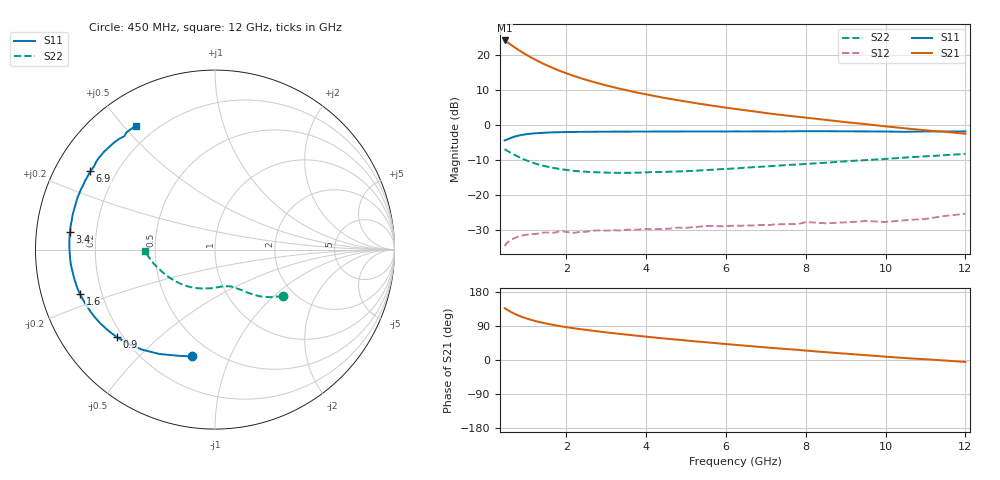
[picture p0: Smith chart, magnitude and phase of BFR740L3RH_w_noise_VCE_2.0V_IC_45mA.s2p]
! (c) 2012  Infineon Technologies AG, Munich
! Infineon Technologies  Discrete & RF Semiconductors
! BFR740L3RH
! VCE =  2.0 V,  IC =  45 mA
! Common Emitter S-Parameters:  May 2012
# GHz  S  MA  R  50
!  f  S11  S21  S12  S22
! GHz  MAG  ANG  MAG  ANG  MAG  ANG  MAG  ANG
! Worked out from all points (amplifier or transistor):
!   85 points, 450 MHz to 12 GHz, reference 50 ohm
!   highest |S21| = 24.3 dB at 450 MHz (marker M1)
!   |S21| within 3 dB of that: start of sweep to 839.8 MHz
!   unconditionally stable (mu >= 1): 2.114 GHz to end of sweep
!   at 1.8 GHz: K = 0.84, MSG = 23.1 dB, |S12| = -30.4 dB
!   at 4.6 GHz: K = 1.86, MAG = 13.2 dB, |S12| = -29.5 dB
!   at 12 GHz: K = 3.43, MAG = 3.2 dB, |S12| = -25.3 dB
!   lowest NFmin = 1.51 dB at 450 MHz
!   S11 on the Smith chart (normalised r, x): 450 MHz: 0.39, -0.73; 900 MHz: 0.18, -0.37; 1.6 GHz: 0.12, -0.16; 3.4 GHz: 0.10, +0.06; 6.9 GHz: 0.11, +0.28; 12 GHz: 0.13, +0.54
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0.45  0.6083 -102.2  16.39 136.7  0.0187 38.2  0.4577 -34.2
0.5  0.6233 -108.1  15.65 133.5  0.0206 39.0  0.4391 -36.5
0.6  0.6594 -118.1  14.31 127.3  0.023 38.7  0.4063 -40.7
0.7  0.6899 -126.1  13.09 121.9  0.0244 36.6  0.3783 -44.2
0.8  0.7137 -132.7  11.99 117.2  0.0258 34.0  0.3534 -47.0
0.9  0.7327 -138.3  11.03 113.2  0.0266 32.0  0.3321 -49.2
1  0.7476 -143.1  10.2 109.6  0.0273 30.7  0.3148 -51.1
1.2  0.7687 -150.7  8.814 103.4  0.0279 27.2  0.2869 -54.5
1.4  0.7819 -156.9  7.714 98.3  0.0291 24.5  0.2659 -57.3
1.6  0.7919 -161.8  6.85 94.0  0.029 23.7  0.251 -60.0
1.8  0.798 -166.0  6.127 90.1  0.0302 24.4  0.2389 -62.3
2  0.8019 -169.6  5.546 86.6  0.0299 24.3  0.2307 -64.6
2.4  0.8082 -175.5  4.646 80.7  0.03 23.0  0.2187 -69.3
2.9  0.8116 178.4  3.858 74.1  0.0313 23.3  0.212 -75.0
3.4  0.8139 173.2  3.282 68.1  0.0316 23.2  0.2091 -81.5
4.3  0.8165 165.8  2.569 58.4  0.0329 26.4  0.215 -93.4
5.2  0.8188 158.9  2.097 49.5  0.0352 28.5  0.224 -105.2
6.3  0.8194 151.7  1.698 39.3  0.0367 30.5  0.2436 -119.8
6.9  0.8204 147.9  1.529 34.1  0.0377 30.6  0.2565 -127.5
8.5  0.8242 138.5  1.198 20.6  0.0397 34.4  0.2922 -146.2
10.5  0.8086 128.7  0.905 5.0  0.044 40.2  0.3467 -166.0
12  0.8192 122.7  0.758 -5.1  0.0545 44.8  0.3905 -178.5
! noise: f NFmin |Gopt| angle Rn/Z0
0.45  1.51  0.26  180  0.12
0.9  1.55  0.26  180  0.11
1.5  1.64  0.28  180  0.11
1.9  1.72  0.29  -179  0.12
2.4  1.83  0.31  -176  0.12
3.5  2.12  0.34  -172  0.12
5.5  2.68  0.43  -158  0.15
8  3.35  0.46  -146  0.28
10  3.84  0.54  -130  0.47
12  4.29  0.57  -119  0.8
